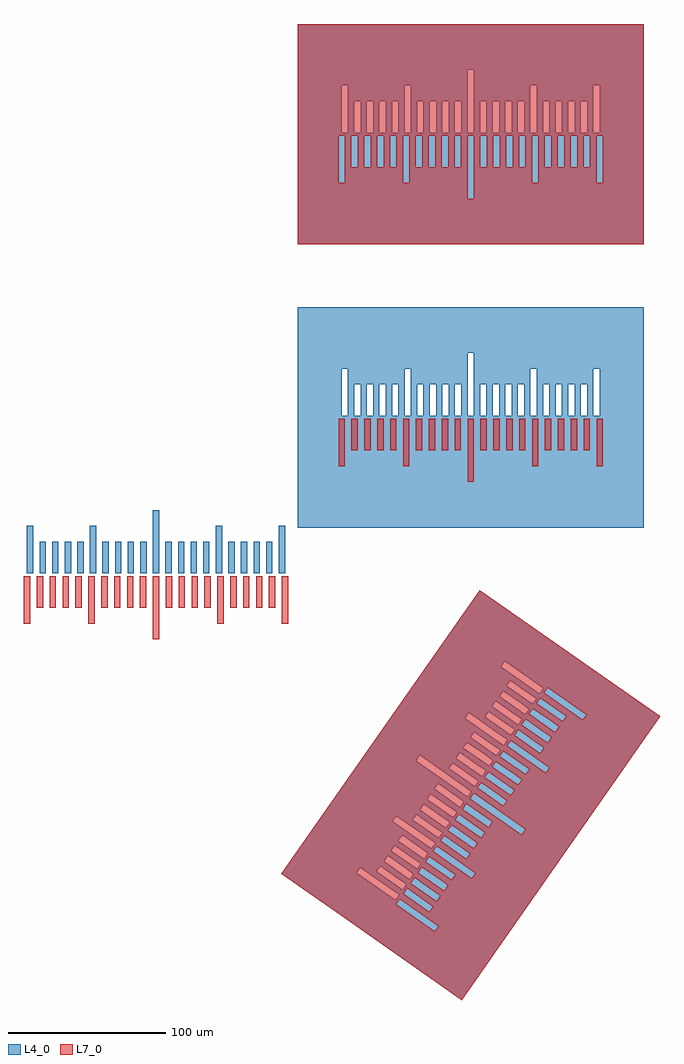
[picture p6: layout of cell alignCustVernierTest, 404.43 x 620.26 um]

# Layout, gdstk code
import gdstk
lib = gdstk.Library(unit=1e-6, precision=1e-09)
def R(c, l, rs):  # rectangles x0, y0, x1, y1
    for r in rs: c.add(gdstk.rectangle(r[:2], r[2:], *l))
def A(c, l, x, y, w, h, nx, ny, dx, dy):  # array of equal rectangles
    R(c, l, [(x+i*dx, y+j*dy, x+i*dx+w, y+j*dy+h) for i in range(nx) for j in range(ny)])
def P(c, l, *ps):  # polygons
    for p in ps: c.add(gdstk.Polygon(p, *l))
L4_0 = (4, 0)
L7_0 = (7, 0)

aligncustverniertest = lib.new_cell('alignCustVernierTest')
A(aligncustverniertest, L4_0, -74, 1, 4, 20, 4, 1, 8, 0)
A(aligncustverniertest, L4_0, -34, 1, 4, 20, 4, 1, 8, 0)
A(aligncustverniertest, L4_0, 6, 1, 4, 20, 4, 1, 8, 0)
A(aligncustverniertest, L4_0, 46, 1, 4, 20, 4, 1, 8, 0)
R(aligncustverniertest, L4_0, [(-82,1,-78,31), (-42,1,-38,31), (-2,1,2,41), (38,1,42,31), (78,1,82,31)])
P(aligncustverniertest, L4_0, [(90,30),(90,101),(122,101),(130,101),(138,101),(146,101),(154,101),(162,101),(170,101),(178,101),(186,101),(194,101),(202,101),(210,101),(218,101),(226,101),(234,101),(242,101),(250,101),(258,101),(266,101),(274,101),(282,101),(282,131),(278,131),(278,101),(274,101),(274,121),(270,121),(270,101),(266,101),(266,121),(262,121),(262,101),(258,101),(258,121),(254,121),(254,101),(250,101),(250,121),(246,121),(246,101),(242,101),(242,131),(238,131),(238,101),(234,101),(234,121),(230,121),(230,101),(226,101),(226,121),(222,121),(222,101),(218,101),(218,121),(214,121),(214,101),(210,101),(210,121),(206,121),(206,101),(202,101),(202,141),(198,141),(198,101),(194,101),(194,121),(190,121),(190,101),(186,101),(186,121),(182,121),(182,101),(178,101),(178,121),(174,121),(174,101),(170,101),(170,121),(166,121),(166,101),(162,101),(162,131),(158,131),(158,101),(154,101),(154,121),(150,121),(150,101),(146,101),(146,121),(142,121),(142,101),(138,101),(138,121),(134,121),(134,101),(130,101),(130,121),(126,121),(126,101),(122,101),(122,131),(118,131),(118,101),(90,101),(90,170),(310,170),(310,30)],
  [(90,210),(90,281),(122,281),(130,281),(138,281),(146,281),(154,281),(162,281),(170,281),(178,281),(186,281),(194,281),(202,281),(210,281),(218,281),(226,281),(234,281),(242,281),(250,281),(258,281),(266,281),(274,281),(282,281),(282,311),(278,311),(278,281),(274,281),(274,301),(270,301),(270,281),(266,281),(266,301),(262,301),(262,281),(258,281),(258,301),(254,301),(254,281),(250,281),(250,301),(246,301),(246,281),(242,281),(242,311),(238,311),(238,281),(234,281),(234,301),(230,301),(230,281),(226,281),(226,301),(222,301),(222,281),(218,281),(218,301),(214,301),(214,281),(210,281),(210,301),(206,301),(206,281),(202,281),(202,321),(198,321),(198,281),(194,281),(194,301),(190,301),(190,281),(186,281),(186,301),(182,301),(182,281),(178,281),(178,301),(174,301),(174,281),(170,281),(170,301),(166,301),(166,281),(162,281),(162,311),(158,311),(158,281),(154,281),(154,301),(150,301),(150,281),(146,281),(146,301),(142,301),(142,281),(138,281),(138,301),(134,301),(134,281),(130,281),(130,301),(126,301),(126,281),(122,281),(122,311),(118,311),(118,281),(90,281),(90,350),(310,350),(310,210)],
  [(194.247,-270.257),(103.331,-206.597),(152.148,-206.597),(154.442,-203.32),(149.762,-200.044),(156.736,-200.044),(159.031,-196.767),(154.351,-193.49),(161.325,-193.49),(163.619,-190.214),(158.94,-186.937),(165.913,-186.937),(168.208,-183.661),(163.528,-180.384),(170.502,-180.384),(172.796,-177.107),(168.117,-173.831),(175.091,-173.831),(177.385,-170.554),(172.705,-167.278),(179.679,-167.278),(181.974,-164.001),(177.294,-160.724),(184.268,-160.724),(186.562,-157.448),(181.883,-154.171),(188.856,-154.171),(191.151,-150.895),(186.471,-147.618),(193.445,-147.618),(195.739,-144.341),(191.06,-141.065),(198.034,-141.065),(200.328,-137.788),(195.649,-134.512),(202.622,-134.512),(204.917,-131.235),(200.237,-127.958),(207.211,-127.958),(209.505,-124.682),(204.826,-121.405),(211.8,-121.405),(214.094,-118.128),(209.414,-114.852),(216.388,-114.852),(218.682,-111.575),(214.003,-108.299),(220.977,-108.299),(223.271,-105.022),(218.592,-101.745),(225.565,-101.745),(227.86,-98.469),(223.18,-95.192),(230.154,-95.192),(232.448,-91.916),(227.769,-88.639),(234.743,-88.639),(237.037,-85.362),(232.357,-82.086),(239.331,-82.086),(241.626,-78.809),(236.946,-75.533),(243.92,-75.533),(246.214,-72.256),(221.64,-55.049),(219.345,-58.325),(243.92,-75.533),(236.946,-75.533),(225.242,-67.338),(222.948,-70.614),(239.331,-82.086),(232.357,-82.086),(220.654,-73.891),(218.36,-77.167),(234.743,-88.639),(227.769,-88.639),(216.065,-80.444),(213.771,-83.721),(230.154,-95.192),(223.18,-95.192),(211.477,-86.997),(209.182,-90.274),(225.565,-101.745),(218.592,-101.745),(198.697,-87.815),(196.402,-91.091),(220.977,-108.299),(214.003,-108.299),(202.299,-100.104),(200.005,-103.38),(216.388,-114.852),(209.414,-114.852),(197.711,-106.657),(195.416,-109.934),(211.8,-121.405),(204.826,-121.405),(193.122,-113.21),(190.828,-116.487),(207.211,-127.958),(200.237,-127.958),(188.534,-119.763),(186.239,-123.04),(202.622,-134.512),(195.649,-134.512),(167.562,-114.845),(165.268,-118.122),(198.034,-141.065),(191.06,-141.065),(179.356,-132.87),(177.062,-136.146),(193.445,-147.618),(186.471,-147.618),(174.768,-139.423),(172.473,-142.7),(188.856,-154.171),(181.883,-154.171),(170.179,-145.976),(167.885,-149.253),(184.268,-160.724),(177.294,-160.724),(165.591,-152.529),(163.296,-155.806),(179.679,-167.278),(172.705,-167.278),(152.81,-153.347),(150.516,-156.624),(175.091,-173.831),(168.117,-173.831),(156.413,-165.636),(154.119,-168.912),(170.502,-180.384),(163.528,-180.384),(151.825,-172.189),(149.53,-175.466),(165.913,-186.937),(158.94,-186.937),(147.236,-178.742),(144.942,-182.019),(161.325,-193.49),(154.351,-193.49),(142.647,-185.296),(140.353,-188.572),(156.736,-200.044),(149.762,-200.044),(129.867,-186.113),(127.573,-189.39),(152.148,-206.597),(103.331,-206.597),(79.566,-189.956),(205.753,-9.743),(320.434,-90.044)])
A(aligncustverniertest, L7_0, -75.8, -21, 4, 20, 4, 1, 8.2, 0)
A(aligncustverniertest, L7_0, -34.8, -21, 4, 20, 4, 1, 8.2, 0)
A(aligncustverniertest, L7_0, 6.2, -21, 4, 20, 4, 1, 8.2, 0)
A(aligncustverniertest, L7_0, 47.2, -21, 4, 20, 4, 1, 8.2, 0)
A(aligncustverniertest, L7_0, 124.2, 79, 4, 20, 4, 1, 8.2, 0)
A(aligncustverniertest, L7_0, 165.2, 79, 4, 20, 4, 1, 8.2, 0)
A(aligncustverniertest, L7_0, 206.2, 79, 4, 20, 4, 1, 8.2, 0)
A(aligncustverniertest, L7_0, 247.2, 79, 4, 20, 4, 1, 8.2, 0)
R(aligncustverniertest, L7_0, [(-2,-41,2,-1), (-84,-31,-80,-1), (-43,-31,-39,-1), (39,-31,43,-1), (80,-31,84,-1), (198,59,202,99), (116,69,120,99), (157,69,161,99), (239,69,243,99), (280,69,284,99)])
P(aligncustverniertest, L7_0, [(90,210),(90,239),(202,239),(202,249),(243,249),(284,249),(284,279),(280,279),(280,249),(243,249),(243,259),(251.2,259),(259.4,259),(267.6,259),(275.8,259),(275.8,279),(271.8,279),(271.8,259),(267.6,259),(267.6,279),(263.6,279),(263.6,259),(259.4,259),(259.4,279),(255.4,279),(255.4,259),(251.2,259),(251.2,279),(247.2,279),(247.2,259),(243,259),(243,279),(239,279),(239,249),(202,249),(202,259),(210.2,259),(218.4,259),(226.6,259),(234.8,259),(234.8,279),(230.8,279),(230.8,259),(226.6,259),(226.6,279),(222.6,279),(222.6,259),(218.4,259),(218.4,279),(214.4,279),(214.4,259),(210.2,259),(210.2,279),(206.2,279),(206.2,259),(202,259),(202,279),(198,279),(198,239),(90,239),(90,249),(120,249),(161,249),(161,259),(169.2,259),(177.4,259),(185.6,259),(193.8,259),(193.8,279),(189.8,279),(189.8,259),(185.6,259),(185.6,279),(181.6,279),(181.6,259),(177.4,259),(177.4,279),(173.4,279),(173.4,259),(169.2,259),(169.2,279),(165.2,279),(165.2,259),(161,259),(161,279),(157,279),(157,249),(120,249),(120,259),(128.2,259),(136.4,259),(144.6,259),(152.8,259),(152.8,279),(148.8,279),(148.8,259),(144.6,259),(144.6,279),(140.6,279),(140.6,259),(136.4,259),(136.4,279),(132.4,279),(132.4,259),(128.2,259),(128.2,279),(124.2,279),(124.2,259),(120,259),(120,279),(116,279),(116,249),(90,249),(90,350),(310,350),(310,210)],
  [(194.247,-270.257),(131.884,-226.59),(177.213,-226.59),(179.508,-223.313),(166.403,-214.137),(173.725,-214.137),(176.019,-210.86),(171.106,-207.42),(178.428,-207.42),(180.723,-204.143),(175.809,-200.703),(183.132,-200.703),(185.426,-197.426),(180.513,-193.986),(187.835,-193.986),(188.522,-193.004),(200.73,-193.004),(203.024,-189.728),(189.919,-180.552),(197.242,-180.552),(199.536,-177.275),(194.623,-173.835),(201.945,-173.835),(204.239,-170.558),(199.326,-167.118),(206.648,-167.118),(208.023,-165.155),(232.438,-165.155),(234.732,-161.878),(213.436,-146.966),(220.758,-146.966),(223.053,-143.69),(218.139,-140.249),(225.462,-140.249),(227.756,-136.973),(222.843,-133.532),(230.165,-133.532),(232.459,-130.256),(227.546,-126.815),(234.868,-126.815),(235.555,-125.834),(247.763,-125.834),(250.057,-122.557),(236.953,-113.381),(244.275,-113.381),(246.569,-110.105),(241.656,-106.664),(248.978,-106.664),(251.273,-103.387),(246.359,-99.947),(253.682,-99.947),(255.976,-96.67),(251.063,-93.23),(258.385,-93.23),(259.072,-92.249),(271.28,-92.249),(273.574,-88.972),(249,-71.765),(246.705,-75.041),(271.28,-92.249),(259.072,-92.249),(260.679,-89.953),(244.296,-78.482),(242.002,-81.758),(258.385,-93.23),(251.063,-93.23),(239.593,-85.199),(237.299,-88.476),(253.682,-99.947),(246.359,-99.947),(234.89,-91.916),(232.595,-95.193),(248.978,-106.664),(241.656,-106.664),(230.186,-98.633),(227.892,-101.91),(244.275,-113.381),(236.953,-113.381),(225.483,-105.35),(223.189,-108.627),(247.763,-125.834),(235.555,-125.834),(237.163,-123.539),(220.78,-112.067),(218.485,-115.344),(234.868,-126.815),(227.546,-126.815),(216.076,-118.784),(213.782,-122.061),(230.165,-133.532),(222.843,-133.532),(211.373,-125.501),(209.079,-128.778),(225.462,-140.249),(218.139,-140.249),(206.67,-132.218),(204.375,-135.495),(220.758,-146.966),(213.436,-146.966),(201.966,-138.935),(199.672,-142.212),(232.438,-165.155),(208.023,-165.155),(208.943,-163.841),(204.029,-160.4),(211.352,-160.4),(213.646,-157.124),(197.263,-145.652),(194.969,-148.929),(211.352,-160.4),(204.029,-160.4),(192.56,-152.369),(190.265,-155.646),(206.648,-167.118),(199.326,-167.118),(187.856,-159.086),(185.562,-162.363),(201.945,-173.835),(194.623,-173.835),(183.153,-165.803),(180.859,-169.08),(197.242,-180.552),(189.919,-180.552),(178.45,-172.521),(176.155,-175.797),(200.73,-193.004),(188.522,-193.004),(190.129,-190.709),(173.746,-179.238),(171.452,-182.514),(187.835,-193.986),(180.513,-193.986),(169.043,-185.955),(166.749,-189.231),(183.132,-200.703),(175.809,-200.703),(164.34,-192.672),(162.045,-195.948),(178.428,-207.42),(171.106,-207.42),(159.636,-199.389),(157.342,-202.665),(173.725,-214.137),(166.403,-214.137),(154.933,-206.106),(152.639,-209.382),(177.213,-226.59),(131.884,-226.59),(79.566,-189.956),(205.753,-9.743),(320.434,-90.044)])

lib.write_gds('alignCustVernierTest.gds')
